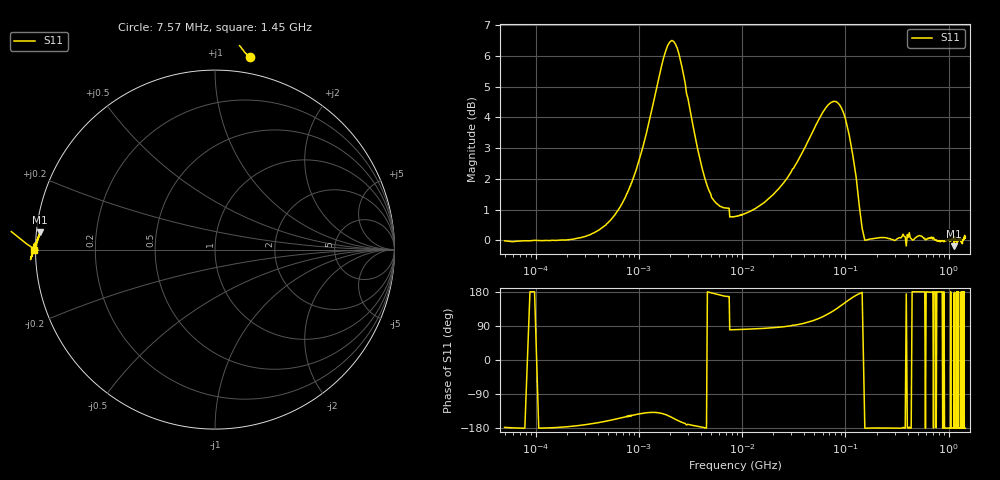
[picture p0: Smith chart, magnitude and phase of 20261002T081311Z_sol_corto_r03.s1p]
! prueba_sol / sol_corto / r03
# HZ S RI R 50
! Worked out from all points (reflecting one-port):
!   501 points, 50 kHz to 1.45 GHz, reference 50 ohm
!   lowest |S11| = -0.2 dB at 1.121 GHz (marker M1), VSWR 93.10, Z = 0.538 + j2.46 ohm
!   phase of S11 starts at -178 deg and turns -2 deg over the sweep
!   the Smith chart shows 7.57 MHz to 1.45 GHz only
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50000  -0.9978 -0.0375
183000  -1.001 -0.0513
373000  -1.004 -0.2325
658000  -1.013 -0.5085
1180000  -1.132 -0.974
1630000  -1.466 -1.209
1990000  -1.801 -1.084
2170000  -1.896 -0.917
2440000  -1.902 -0.6499
3070000  -1.636 -0.271
4330000  -1.264 -0.0297
7300000  -1.102 0.2424
7750000  0.1942 1.075
8560000  0.1875 1.078
1.99e7  0.1009 1.183
3.16e7  -0.0346 1.311
4.69e7  -0.3229 1.454
6.76e7  -0.86 1.419
8.02e7  -1.157 1.22
9.46e7  -1.363 0.8786
9.82e7  -1.383 0.7845
1e8  -1.392 0.7389
1.18e8  -1.33 0.34
1.36e8  -1.135 0.1002
1.63e8  -1.003 -0.00417
4.06e8  -1.012 -0.0029
1.1215e9  -0.974 0.0961
1.45e9  -1.01 -0.000226
